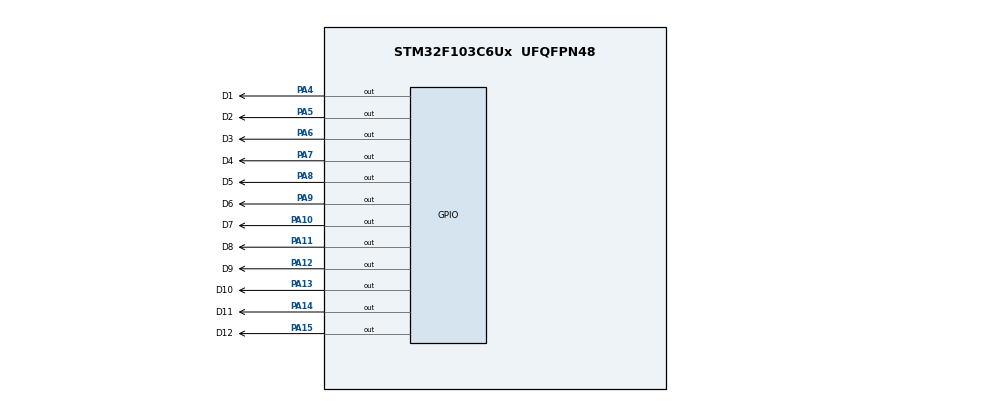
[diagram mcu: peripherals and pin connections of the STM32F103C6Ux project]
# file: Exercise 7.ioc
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Mcu.Family=STM32F1
Mcu.Name=STM32F103C6Ux
Mcu.Package=UFQFPN48
NVIC.PriorityGroup=NVIC_PRIORITYGROUP_4
PA10.GPIO_Label=D7
PA10.Signal=GPIO_Output
PA11.GPIO_Label=D8
PA11.Signal=GPIO_Output
PA12.GPIO_Label=D9
PA12.Signal=GPIO_Output
PA13.GPIO_Label=D10
PA13.Signal=GPIO_Output
PA14.GPIO_Label=D11
PA14.Signal=GPIO_Output
PA15.GPIO_Label=D12
PA15.Signal=GPIO_Output
PA4.GPIO_Label=D1
PA4.Signal=GPIO_Output
PA5.GPIO_Label=D2
PA5.Signal=GPIO_Output
PA6.GPIO_Label=D3
PA6.Signal=GPIO_Output
PA7.GPIO_Label=D4
PA7.Signal=GPIO_Output
PA8.GPIO_Label=D5
PA8.Signal=GPIO_Output
PA9.GPIO_Label=D6
PA9.Signal=GPIO_Output
ProjectManager.HeapSize=0x200
ProjectManager.StackSize=0x400
ProjectManager.TargetToolchain=STM32CubeIDE
RCC.APB1Freq_Value=8000000
RCC.APB2Freq_Value=8000000
VP_SYS_VS_ND.Mode=No_Debug
board=custom

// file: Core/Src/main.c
/* USER CODE BEGIN Header */
/**
  ******************************************************************************
  * @file           : main.c
  * @brief          : Main program body
  ******************************************************************************
  * @attention
  *
  * <h2><center>&copy; Copyright (c) 2022 STMicroelectronics.
  * All rights reserved.</center></h2>
  *
  * This software component is licensed by ST under BSD 3-Clause license,
  * the "License"; You may not use this file except in compliance with the
  * License. You may obtain a copy of the License at:
  *                        opensource.org/licenses/BSD-3-Clause
  *
  ******************************************************************************
  */
/* USER CODE END Header */
#include "main.h"

void SystemClock_Config(void);
static void MX_GPIO_Init(void);

/* USER CODE BEGIN 0 */
void clearAllClock ()
{
	HAL_GPIO_WritePin(D1_GPIO_Port, D1_Pin, RESET);
	HAL_GPIO_WritePin(D2_GPIO_Port, D2_Pin, RESET);
	HAL_GPIO_WritePin(D3_GPIO_Port, D3_Pin, RESET);
	HAL_GPIO_WritePin(D4_GPIO_Port, D4_Pin, RESET);
	HAL_GPIO_WritePin(D5_GPIO_Port, D5_Pin, RESET);
	HAL_GPIO_WritePin(D6_GPIO_Port, D6_Pin, RESET);
	HAL_GPIO_WritePin(D7_GPIO_Port, D7_Pin, RESET);
	HAL_GPIO_WritePin(D8_GPIO_Port, D8_Pin, RESET);
	HAL_GPIO_WritePin(D9_GPIO_Port, D9_Pin, RESET);
	HAL_GPIO_WritePin(D10_GPIO_Port, D10_Pin, RESET);
	HAL_GPIO_WritePin(D11_GPIO_Port, D11_Pin, RESET);
	HAL_GPIO_WritePin(D12_GPIO_Port, D12_Pin, RESET);
}
/* USER CODE END 0 */

int main(void)
{

  /* MCU Configuration--------------------------------------------------------*/

  /* Reset of all peripherals, Initializes the Flash interface and the Systick. */
  HAL_Init();

  /* Configure the system clock */
  SystemClock_Config();

  /* Initialize all configured peripherals */
  MX_GPIO_Init();

  /* Infinite loop */
  /* USER CODE BEGIN WHILE */
  int counter = 0;
  while (1)
  {
	  //Turn on all Led
	  HAL_GPIO_WritePin(GPIOA, D1_Pin|D2_Pin|D3_Pin|D4_Pin|D5_Pin|D6_Pin|D7_Pin|D8_Pin|D9_Pin|D10_Pin|D11_Pin|D12_Pin, GPIO_PIN_SET);

	  //After 2s call function clearAllClock
	  if(counter == 2)
	  {
		  clearAllClock();
		  counter = 0;
	  }
	  counter++;
	  HAL_Delay(1000);
    /* USER CODE END WHILE */

  }
}

void SystemClock_Config(void)
{
  RCC_OscInitTypeDef RCC_OscInitStruct = {0};
  RCC_ClkInitTypeDef RCC_ClkInitStruct = {0};

  /** Initializes the RCC Oscillators according to the specified parameters
  * in the RCC_OscInitTypeDef structure.
  */
  RCC_OscInitStruct.OscillatorType = RCC_OSCILLATORTYPE_HSI;
  RCC_OscInitStruct.HSIState = RCC_HSI_ON;
  RCC_OscInitStruct.HSICalibrationValue = RCC_HSICALIBRATION_DEFAULT;
  RCC_OscInitStruct.PLL.PLLState = RCC_PLL_NONE;
  if (HAL_RCC_OscConfig(&RCC_OscInitStruct) != HAL_OK)
  {
    Error_Handler();
  }
  /** Initializes the CPU, AHB and APB buses clocks
  */
  RCC_ClkInitStruct.ClockType = RCC_CLOCKTYPE_HCLK|RCC_CLOCKTYPE_SYSCLK
                              |RCC_CLOCKTYPE_PCLK1|RCC_CLOCKTYPE_PCLK2;
  RCC_ClkInitStruct.SYSCLKSource = RCC_SYSCLKSOURCE_HSI;
  RCC_ClkInitStruct.AHBCLKDivider = RCC_SYSCLK_DIV1;
  RCC_ClkInitStruct.APB1CLKDivider = RCC_HCLK_DIV1;
  RCC_ClkInitStruct.APB2CLKDivider = RCC_HCLK_DIV1;

  if (HAL_RCC_ClockConfig(&RCC_ClkInitStruct, FLASH_LATENCY_0) != HAL_OK)
  {
    Error_Handler();
  }
}

static void MX_GPIO_Init(void)
{
  GPIO_InitTypeDef GPIO_InitStruct = {0};

  /* GPIO Ports Clock Enable */
  __HAL_RCC_GPIOA_CLK_ENABLE();

  /*Configure GPIO pin Output Level */
  HAL_GPIO_WritePin(GPIOA, D1_Pin|D2_Pin|D3_Pin|D4_Pin
                          |D5_Pin|D6_Pin|D7_Pin|D8_Pin
                          |D9_Pin|D10_Pin|D11_Pin|D12_Pin, GPIO_PIN_RESET);

  /*Configure GPIO pins : D1_Pin D2_Pin D3_Pin D4_Pin
                           D5_Pin D6_Pin D7_Pin D8_Pin
                           D9_Pin D10_Pin D11_Pin D12_Pin */
  GPIO_InitStruct.Pin = D1_Pin|D2_Pin|D3_Pin|D4_Pin
                          |D5_Pin|D6_Pin|D7_Pin|D8_Pin
                          |D9_Pin|D10_Pin|D11_Pin|D12_Pin;
  GPIO_InitStruct.Mode = GPIO_MODE_OUTPUT_PP;
  GPIO_InitStruct.Pull = GPIO_NOPULL;
  GPIO_InitStruct.Speed = GPIO_SPEED_FREQ_LOW;
  HAL_GPIO_Init(GPIOA, &GPIO_InitStruct);

}

void Error_Handler(void)
{
  __disable_irq();
  while (1)
  {
  }
}

/************************ (C) COPYRIGHT STMicroelectronics *****END OF FILE****/
